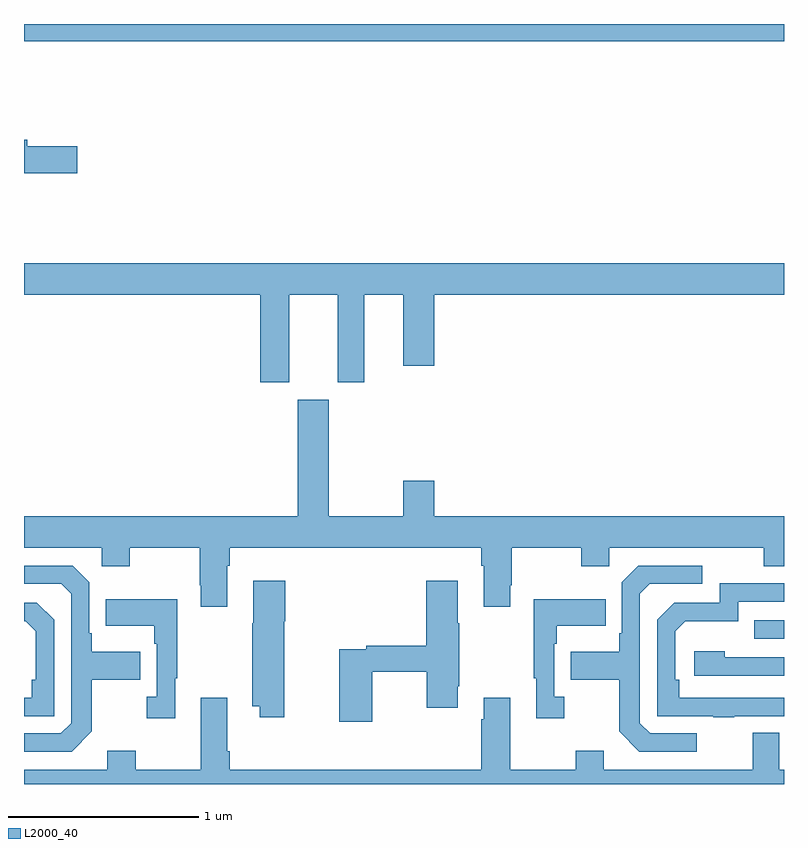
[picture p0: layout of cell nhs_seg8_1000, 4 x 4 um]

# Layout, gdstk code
import gdstk
lib = gdstk.Library(unit=1e-6, precision=1e-09)
def R(c, l, rs):  # rectangles x0, y0, x1, y1
    for r in rs: c.add(gdstk.rectangle(r[:2], r[2:], *l))
def P(c, l, *ps):  # polygons
    for p in ps: c.add(gdstk.Polygon(p, *l))
L2000_40 = (2000, 40)

nhs_seg8_1000 = lib.new_cell('nhs_seg8_1000')
R(nhs_seg8_1000, L2000_40, [(178.843,1138.665,179,1138.761), (175,1141.808,179,1141.9)])
P(nhs_seg8_1000, L2000_40, [(175.279,1141.256),(175.018,1141.256),(175.018,1141.292),(175,1141.292),(175,1141.114),(175.279,1141.114)],
  [(176.395,1140.476),(176.651,1140.476),(176.651,1140.015),(176.791,1140.015),(176.791,1140.476),(176.996,1140.476),(176.996,1140.102),(177.16,1140.102),(177.16,1140.476),(179,1140.476),(179,1140.64),(175,1140.64),(175,1140.476),(176.243,1140.476),(176.243,1140.015),(176.395,1140.015)],
  [(176.071,1139.048),(176.084,1139.048),(176.084,1139.144),(177.407,1139.144),(177.407,1139.048),(177.419,1139.048),(177.419,1138.833),(177.559,1138.833),(177.559,1138.945),(177.567,1138.945),(177.567,1139.144),(177.934,1139.144),(177.934,1139.045),(178.08,1139.045),(178.08,1139.144),(178.894,1139.144),(178.894,1139.045),(179,1139.045),(179,1139.308),(177.16,1139.308),(177.16,1139.497),(176.996,1139.497),(176.996,1139.308),(176.605,1139.308),(176.605,1139.923),(176.441,1139.923),(176.441,1139.308),(175,1139.308),(175,1139.144),(175.41,1139.144),(175.41,1139.045),(175.557,1139.045),(175.557,1139.144),(175.924,1139.144),(175.924,1138.945),(175.931,1138.945),(175.931,1138.833),(176.071,1138.833)],
  [(178.54,1138.167),(178.296,1138.167),(178.242,1138.221),(178.242,1138.902),(178.293,1138.953),(178.57,1138.953),(178.57,1139.049),(178.233,1139.049),(178.146,1138.962),(178.146,1138.693),(178.134,1138.693),(178.134,1138.597),(177.877,1138.597),(177.877,1138.45),(178.134,1138.45),(178.134,1138.177),(178.239,1138.071),(178.54,1138.071)],
  [(175.357,1138.177),(175.357,1138.45),(175.613,1138.45),(175.613,1138.597),(175.357,1138.597),(175.357,1138.693),(175.344,1138.693),(175.344,1138.962),(175.257,1139.049),(175,1139.049),(175,1138.953),(175.197,1138.953),(175.248,1138.902),(175.248,1138.221),(175.194,1138.167),(175,1138.167),(175,1138.071),(175.251,1138.071)],
  [(176.37,1138.756),(176.375,1138.756),(176.375,1138.969),(176.207,1138.969),(176.207,1138.745),(176.2,1138.745),(176.2,1138.31),(176.24,1138.31),(176.24,1138.251),(176.37,1138.251)],
  [(176.832,1138.492),(177.121,1138.492),(177.121,1138.302),(177.283,1138.302),(177.283,1138.414),(177.291,1138.414),(177.291,1138.745),(177.283,1138.745),(177.283,1138.969),(177.116,1138.969),(177.116,1138.628),(176.8,1138.628),(176.8,1138.608),(176.659,1138.608),(176.659,1138.227),(176.832,1138.227)],
  [(178.739,1138.257),(179,1138.257),(179,1138.353),(178.448,1138.353),(178.448,1138.45),(178.428,1138.45),(178.428,1138.704),(178.481,1138.757),(178.758,1138.757),(178.758,1138.86),(179,1138.86),(179,1138.956),(178.662,1138.956),(178.662,1138.854),(178.422,1138.854),(178.332,1138.764),(178.332,1138.257),(178.627,1138.257),(178.627,1138.252),(178.739,1138.252)],
  [(177.844,1138.358),(177.792,1138.358),(177.792,1138.637),(177.805,1138.637),(177.805,1138.733),(178.061,1138.733),(178.061,1138.873),(177.684,1138.873),(177.684,1138.457),(177.695,1138.457),(177.695,1138.245),(177.844,1138.245)],
  [(175.795,1138.457),(175.807,1138.457),(175.807,1138.873),(175.429,1138.873),(175.429,1138.733),(175.686,1138.733),(175.686,1138.637),(175.698,1138.637),(175.698,1138.358),(175.647,1138.358),(175.647,1138.245),(175.795,1138.245)],
  [(175.158,1138.764),(175.068,1138.854),(175,1138.854),(175,1138.757),(175.009,1138.757),(175.062,1138.704),(175.062,1138.45),(175.042,1138.45),(175.042,1138.353),(175,1138.353),(175,1138.257),(175.158,1138.257)],
  [(179,1138.566),(178.688,1138.566),(178.688,1138.6),(178.527,1138.6),(178.527,1138.47),(179,1138.47)],
  [(179,1137.976),(178.975,1137.976),(178.975,1138.171),(178.835,1138.171),(178.835,1137.976),(178.051,1137.976),(178.051,1138.075),(177.904,1138.075),(177.904,1137.976),(177.559,1137.976),(177.559,1138.354),(177.419,1138.354),(177.419,1138.241),(177.407,1138.241),(177.407,1137.976),(176.084,1137.976),(176.084,1138.072),(176.071,1138.072),(176.071,1138.354),(175.931,1138.354),(175.931,1137.976),(175.587,1137.976),(175.587,1138.075),(175.439,1138.075),(175.439,1137.976),(175,1137.976),(175,1137.9),(179,1137.9)])

lib.write_gds('nhs_seg8_1000.gds')
